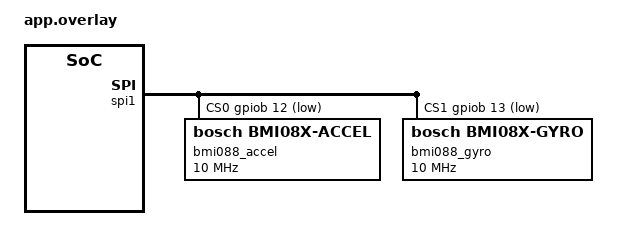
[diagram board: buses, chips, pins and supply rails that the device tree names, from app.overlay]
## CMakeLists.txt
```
cmake_minimum_required(VERSION 3.20.0)
find_package(Zephyr REQUIRED HINTS $ENV{ZEPHYR_BASE})
project(OF_lib_mod_ImuHub_test)
target_sources(app PRIVATE src/main.cpp)
```

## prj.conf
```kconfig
CONFIG_ONE_FRAMEWORK=y
CONFIG_LOG=y
CONFIG_IMU_HUB=y
CONFIG_IMU_HUB_USE_BMI08X=y
CONFIG_CPU_LOAD=y
```

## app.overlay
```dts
&spi1 {
	status = "okay";
	cs-gpios = <&gpiob 12 GPIO_ACTIVE_LOW>, <&gpiob 13 GPIO_ACTIVE_LOW>;

	bmi088_accel: bmi088_accel@0 {
		compatible = "bosch,bmi08x-accel";
		reg = <0>;
		spi-max-frequency = <10000000>;
		accel-hz = "800";
		accel-fs = <24>;
	};

	bmi088_gyro: bmi088_gyro@1 {
		compatible = "bosch,bmi08x-gyro";
		reg = <1>;
		spi-max-frequency = <10000000>;
		gyro-hz = "1000_116";
		gyro-fs = <2000>;
	};
};

/ {
	imu_hub: imu_hub {
		compatible = "one-framework,imu-hub";
		accel-device = <&bmi088_accel>;
		gyro-device = <&bmi088_gyro>;
	};
};
```

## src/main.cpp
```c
// Copyright (c) 2025. MoonFeather
// SPDX-License-Identifier: BSD-3-Clause

#include <OF/lib/ImuHub/ImuHub.hpp>
#include <zephyr/logging/log.h>
#include <zephyr/kernel.h>
#include <zephyr/debug/cpu_load.h>

LOG_MODULE_REGISTER(imu_test, CONFIG_LOG_DEFAULT_LEVEL);

using namespace OF;

int main()
{
    LOG_INF("main");

    while (true)
    {
        auto [quat, euler_angle, gyro, accel] = ImuHub::getData();
        LOG_INF("----");
        auto& [ax, ay, az] = accel;
        LOG_INF("accel: %f, %f, %f;", ax, ay, az);
        auto& [a, b, c] = gyro;
        LOG_INF("gyro: %f, %f, %f;", a, b, c);
        auto& [w, qx, qy, qz] = quat;
        LOG_INF("quat: %f, %f, %f, %f;", w, qx, qy, qz);
        auto& [p, r, y] = euler_angle;
        LOG_INF("euler: %f, %f, %f;", p, r, y);
        uint32_t load = cpu_load_get(false);
        LOG_INF("cpu: %u.%u%%", load / 10, load % 10);
        k_sleep(K_MSEC(500));
    }
}
```
